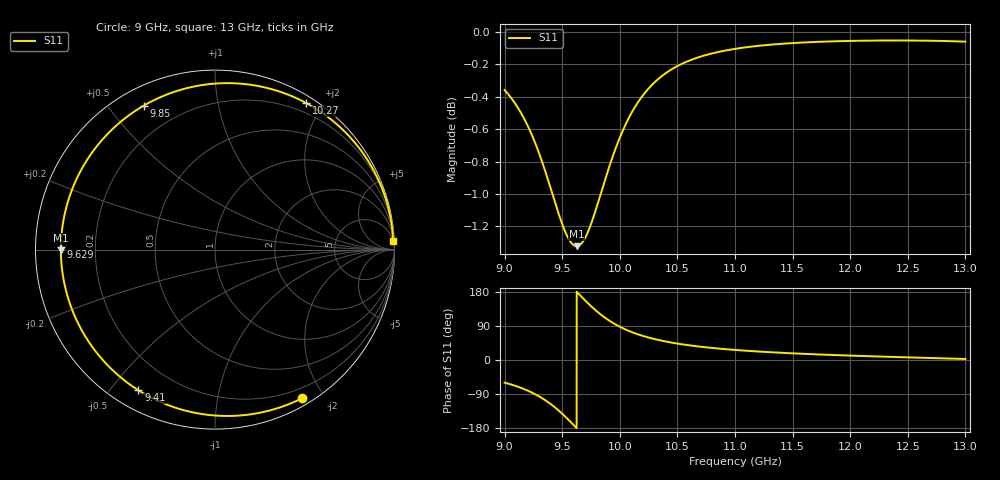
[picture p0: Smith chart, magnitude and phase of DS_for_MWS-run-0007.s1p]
! TOUCHSTONE file generated by CST DESIGN STUDIO
! Date and time: Wed Feb  5 13:43:23 2025
! Project name: C:\Work\MatlabApps\UnitCellOptimizationMatlab\CST\unitcell.cst
! Tree item: Tasks\Sweep1\SPara1\S-Parameters
! Header version: 2024
! Port assignment regex: !\s*Touchstone port\s*([0-9]+)\s*=\s*(CST MWS port|CST DES external port|CST DES block port)\s*(.+)\s* \(\"(.*)\"\)(\s*mode\s*([0-9]+))?.*
! Touchstone port assignment:
! Touchstone port 1 = CST DES external port 1 ("")
# GHz S MA R 50
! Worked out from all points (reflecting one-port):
!   4001 points, 9 GHz to 13 GHz, reference 50 ohm
!   lowest |S11| = -1.3 dB at 9.625 GHz (marker M1), VSWR 13.17, Z = 3.8 - j0.107 ohm
!   phase of S11 starts at -60 deg and turns -298 deg over the sweep
!   S11 on the Smith chart (normalised r, x): 9 GHz: 0.08, -1.74; 9.41 GHz: 0.08, -0.59; 9.629 GHz: 0.08, +0.01; 9.85 GHz: 0.08, +0.62; 10.27 GHz: 0.08, +1.80; 13 GHz: 6, +42
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9  0.9595 -59.7
9.055  0.9543 -64.5
9.128  0.9459 -71.9
9.253  0.9264 -88.4
9.337  0.9093 -103.0
9.41  0.8924 -118.5
9.455  0.882 -129.6
9.5  0.8724 -141.8
9.566  0.8621 -161.3
9.625  0.8588 -179.8
9.629  0.8588 179.0
9.686  0.8623 161.1
9.748  0.872 142.7
9.799  0.8829 128.8
9.85  0.895 116.4
9.92  0.9112 101.6
10  0.9276 87.7
10.062  0.9382 78.9
10.126  0.9473 71.1
10.265  0.9619 58.0
10.375  0.9697 50.2
10.5  0.976 43.3
10.72  0.983 34.4
11  0.988 26.5
11.5  0.992 17.6
12  0.9936 11.6
12.5  0.9939 6.9
13  0.993 2.7
